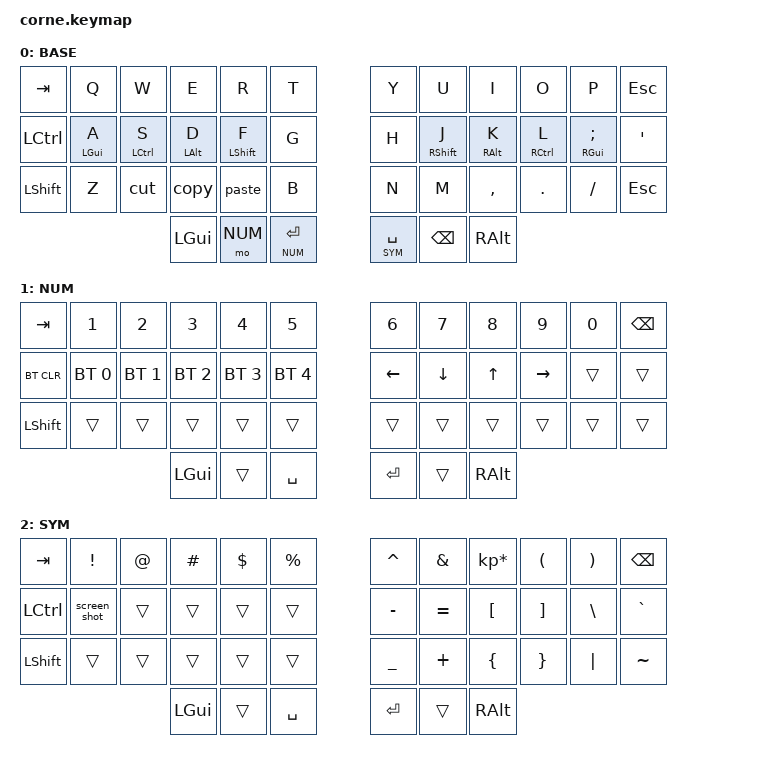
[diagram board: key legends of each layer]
/*
 * Copyright (c) 2020 The ZMK Contributors
 *
 * SPDX-License-Identifier: MIT
 */

#include <behaviors.dtsi>
#include <dt-bindings/zmk/keys.h>
#include <dt-bindings/zmk/bt.h>

#include "42keys.h"

&mt {
    quick-tap-ms = <200>;
};

&lt {
    flavor = "balanced";
    tapping-term-ms = <200>;
    quick-tap-ms = <200>;
};

&caps_word {
    continue-list = <UNDERSCORE MINUS>;
};


/ {
        // macros
      macros {
        screen_shot: screen_shot {
            label = "screen_shot";
            compatible = "zmk,behavior-macro";
            #binding-cells = <0>;
            bindings
                = <&macro_press &kp LGUI>
                , <&macro_press &kp LSHFT>
                , <&macro_tap &kp N4>
                , <&macro_release &kp LSHFT>
                , <&macro_release &kp LGUI>
                ;
           };
      };
        // behaviors
        behaviors {
          tp: tap_preferred {
            compatible = "zmk,behavior-hold-tap";
            label = "TAP_PREFERRED";
            #binding-cells = <2>;
            tapping-term-ms = <150>;
            quick-tap-ms = <0>;
            flavor = "tap-preferred";
            bindings = <&kp>, <&kp>;
            }; 
        copy: copy {
            compatible = "zmk,behavior-tap-dance";
            label = "COPY";
            #binding-cells = <0>;
            tapping-term-ms = <200>;
            bindings = <&kp C>, <&kp LG(C)>;
        };
         paste: paste {
            compatible = "zmk,behavior-tap-dance";
            label = "PASTE";
            #binding-cells = <0>;
            tapping-term-ms = <200>;
            bindings = <&kp V>, <&kp LG(V)>;
        };
         cut: cut {
            compatible = "zmk,behavior-tap-dance";
            label = "CUT";
            #binding-cells = <0>;
            tapping-term-ms = <200>;
            bindings = <&kp X>, <&kp LG(X)>;
        };

          };  
          combos {
        compatible = "zmk,combos";
         combo_capsword {
            timeout-ms = <50>;
            key-positions = <12 23>;
            bindings = <&caps_word>;
            
        };
    };       
    
        keymap {
                compatible = "zmk,keymap";

                base_layer {
                        label = "BASE";
// -----------------------------------------------------------------------------------------
// |  TAB |  Q  |  W  |  E  |  R  |  T  |   |  Y  |  U   |  I  |  O  |  P  | BKSP |
// | CTRL |  A  |  S  |  D  |  F  |  G  |   |  H  |  J   |  K  |  L  |  ;  |  '   |
// | SHFT |  Z  |  X  |  C  |  V  |  B  |   |  N  |  M   |  ,  |  .  |  /  | ESC  |
//                    | GUI | LWR | SPC |   | ENT | RSE  | ALT |
                        bindings = <
   &kp TAB   &kp Q &kp W &kp E &kp R &kp T   &kp Y &kp U  &kp I     &kp O   &kp P    &kp ESC
   &kp LCTRL &tp LGUI A &tp LCTRL S &tp LALT D &tp LSHFT F &kp G   &kp H &tp RSHFT J  &tp RALT K &tp RCTRL L &tp RGUI SEMI &kp SQT
   &kp LSHFT &kp Z &cut &copy &paste &kp B   &kp N &kp M  &kp COMMA &kp DOT &kp FSLH &kp ESC
                  &kp LGUI &mo NUM &lt NUM RET   &lt SYM SPACE &kp BACKSPACE &kp RALT
                        >;
                };
                numeric_layer {
                        label = "NUM";
// -----------------------------------------------------------------------------------------
// |  TAB |  1  |  2  |  3  |  4  |  5  |   |  6  |  7  |  8  |  9  |  0  | BKSP |
// | BTCLR| BT1 | BT2 | BT3 | BT4 | BT5 |   | LFT | DWN |  UP | RGT |     |      |
// | SHFT |     |     |     |     |     |   |     |     |     |     |     |      |
//                    | GUI |     | SPC |   | ENT |     | ALT |
                        bindings = <
   &kp TAB    &kp N1       &kp N2       &kp N3       &kp N4       &kp N5         &kp N6   &kp N7   &kp N8 &kp N9    &kp N0 &kp BSPC
   &bt BT_CLR &bt BT_SEL 0 &bt BT_SEL 1 &bt BT_SEL 2 &bt BT_SEL 3 &bt BT_SEL 4   &kp LEFT &kp DOWN &kp UP &kp RIGHT &trans &trans
   &kp LSHFT  &trans       &trans       &trans       &trans       &trans         &trans   &trans   &trans &trans    &trans &trans
                          	        &kp LGUI     &trans       &kp SPACE      &kp RET  &trans   &kp RALT
                        >;
                };

                symbol_layer {
                        label = "SYM";
// -----------------------------------------------------------------------------------------
// |  TAB |  !  |  @  |  #  |  $  |  %  |   |  ^  |  &  |  *  |  (  |  )  | BKSP |
// | CTRL |     |     |     |     |     |   |  -  |  =  |  [  |  ]  |  \  |  `   |
// | SHFT |     |     |     |     |     |   |  _  |  +  |  {  |  }  | "|" |  ~   |
//                    | GUI |     | SPC |   | ENT |     | ALT |
                        bindings = <
   &kp  TAB  &kp EXCL &kp AT &kp HASH &kp DLLR &kp PRCNT   &kp CARET &kp AMPS  &kp KP_MULTIPLY &kp LPAR &kp RPAR &kp BSPC
   &kp LCTRL &screen_shot   &trans &trans   &trans   &trans      &kp MINUS &kp EQUAL &kp LBKT        &kp RBKT &kp BSLH &kp GRAVE
   &kp LSHFT &trans   &trans &trans   &trans   &trans      &kp UNDER &kp PLUS  &kp LBRC        &kp RBRC &kp PIPE &kp TILDE
                    	     &kp LGUI &trans   &kp SPACE   &kp RET   &trans    &kp RALT
                        >;
                };
        };
};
